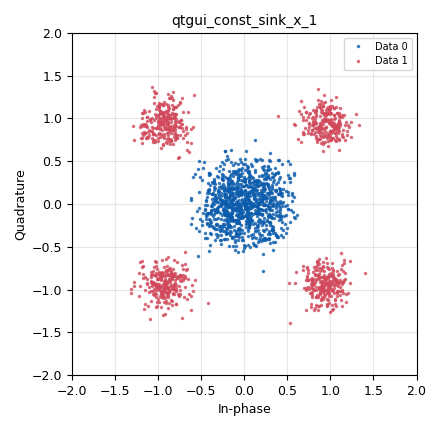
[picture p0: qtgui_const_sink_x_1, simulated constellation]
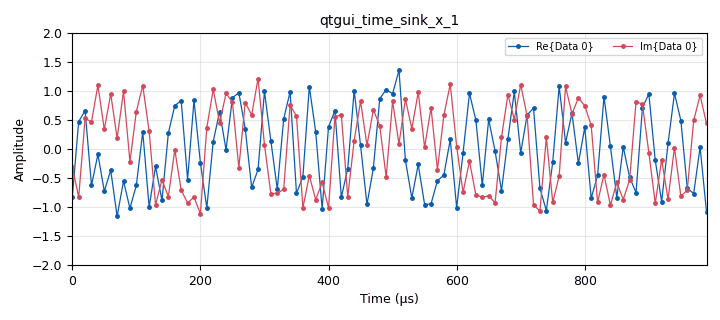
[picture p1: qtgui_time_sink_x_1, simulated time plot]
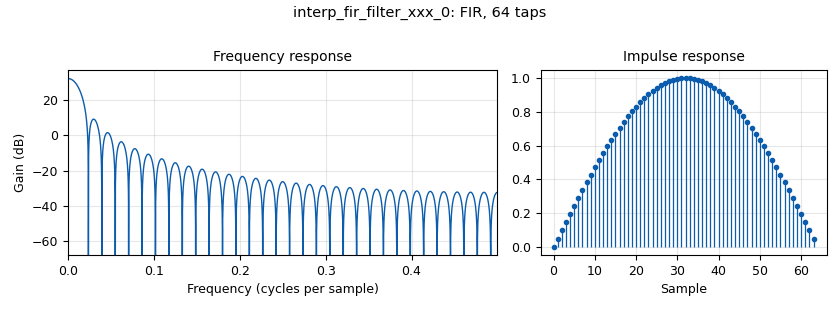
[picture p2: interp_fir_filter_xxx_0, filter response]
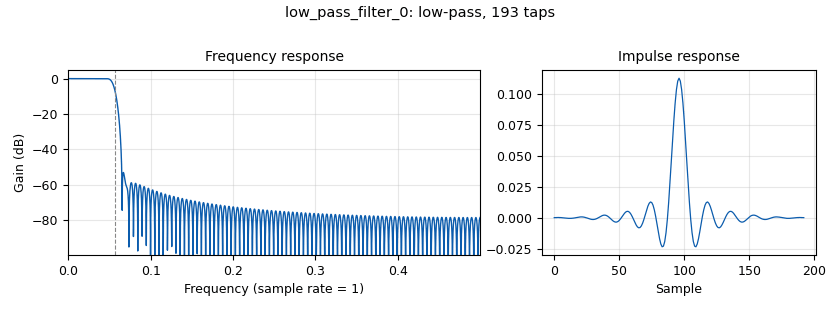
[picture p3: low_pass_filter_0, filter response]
options:
  parameters:
    author: Daniel Estevez
    generate_options: qt_gui
    id: oqpsk_demodulator
    output_language: python
    title: OQPSK demodulator test
  states: {}

blocks:
- name: baudrate
  id: variable
  parameters:
    value: '100000'
  states: {}
- name: mf_arms
  id: variable
  parameters:
    value: '128'
  states: {}
- name: mf_pfb
  id: variable
  parameters:
    comment: Half-sine receive pulse
    value: np.sin(np.pi * np.arange(mf_arms * sps_recv // 2) / (mf_arms * sps_recv // 2))
  states: {}
- name: mf_pfb
  id: variable_rrc_filter_taps
  parameters:
    alpha: '0.5'
    comment: RRC receive pulse
    gain: sps_recv
    ntaps: 11*sps_recv*mf_arms
    samp_rate: sps_recv * mf_arms
    sym_rate: '1'
  states: {state: disabled}
- name: pulse_taps
  id: variable
  parameters:
    comment: Half-sine transmit pulse
    value: np.sin(np.pi * np.arange(sps_gen)/sps_gen)
  states: {}
- name: pulse_taps
  id: variable_rrc_filter_taps
  parameters:
    alpha: '0.5'
    comment: RRC transmit pulse
    gain: sps_gen
    ntaps: 11*sps_gen
    samp_rate: sps_gen
    sym_rate: '1'
  states: {state: disabled}
- name: qpsk_constellation
  id: variable_constellation
  parameters:
    const_points: '[-1-1j, -1+1j, 1+1j, 1-1j]'
    dims: '1'
    normalization: digital.constellation.NO_NORMALIZATION
    precision: '8'
    rot_sym: '4'
    sym_map: '[0, 1, 3, 2]'
    type: calcdist
  states: {}
- name: samp_rate_gen
  id: variable
  parameters:
    value: baudrate * sps_gen
  states: {}
- name: samp_rate_recv
  id: variable
  parameters:
    value: baudrate * sps_recv
  states: {}
- name: sps_gen
  id: variable
  parameters:
    value: '64'
  states: {}
- name: sps_recv
  id: variable
  parameters:
    value: '8'
  states: {}
- name: analog_random_source_x_0
  id: analog_random_source_x
  parameters:
    max: '255'
    min: '0'
    num_samps: '1000000'
    repeat: 'True'
    type: byte
  states: {}
- name: blocks_complex_to_float_0
  id: blocks_complex_to_float
  parameters: {}
  states: {}
- name: blocks_complex_to_imag_0
  id: blocks_complex_to_imag
  parameters: {}
  states: {}
- name: blocks_complex_to_imag_0_0
  id: blocks_complex_to_imag
  parameters: {}
  states: {}
- name: blocks_complex_to_real_0
  id: blocks_complex_to_real
  parameters: {}
  states: {}
- name: blocks_complex_to_real_0_0
  id: blocks_complex_to_real
  parameters: {}
  states: {}
- name: blocks_deinterleave_0
  id: blocks_deinterleave
  parameters:
    type: complex
  states: {}
- name: blocks_deinterleave_0_0
  id: blocks_deinterleave
  parameters:
    type: complex
  states: {}
- name: blocks_delay_0
  id: blocks_delay
  parameters:
    delay: sps_gen // 2
    type: float
  states: {}
- name: blocks_float_to_complex_0
  id: blocks_float_to_complex
  parameters: {}
  states: {}
- name: blocks_float_to_complex_1
  id: blocks_float_to_complex
  parameters: {}
  states: {}
- name: blocks_float_to_complex_1_0
  id: blocks_float_to_complex
  parameters: {}
  states: {}
- name: blocks_multiply_const_xx_0
  id: blocks_multiply_const_xx
  parameters:
    const: np.exp(-1j*np.pi/4)
    type: complex
  states: {}
- name: blocks_multiply_const_xx_0_0
  id: blocks_multiply_const_xx
  parameters:
    const: np.exp(1j*np.pi/4)
    type: complex
  states: {}
- name: blocks_packed_to_unpacked_xx_0
  id: blocks_packed_to_unpacked_xx
  parameters:
    bits_per_chunk: '2'
    endianness: gr.GR_MSB_FIRST
    type: byte
  states: {}
- name: blocks_throttle_0
  id: blocks_throttle
  parameters:
    samples_per_second: baudrate
    type: complex
  states: {}
- name: channels_channel_model_0
  id: channels_channel_model
  parameters:
    epsilon: 1.0+1e-4
    freq_offset: '1e-3'
    noise_voltage: '1.0'
    seed: '0'
    taps: '1.0'
  states: {}
- name: digital_constellation_encoder_bc_0
  id: digital_constellation_encoder_bc
  parameters:
    constellation: qpsk_constellation
  states: {}
- name: digital_costas_loop_cc_0
  id: digital_costas_loop_cc
  parameters:
    order: '4'
    w: '0.01'
  states: {}
- name: digital_symbol_sync_xx_0
  id: digital_symbol_sync_xx
  parameters:
    damping: '1.0'
    loop_bw: '0.1'
    max_dev: '0.1'
    nfilters: mf_arms
    osps: '1'
    pfb_mf_taps: mf_pfb / np.sum(mf_pfb) * mf_arms
    resamp_type: digital.IR_PFB_MF
    sps: sps_recv//2
    ted_gain: '1.0'
    ted_type: digital.TED_DANDREA_AND_MENGALI_GEN_MSK
    type: cc
  states: {}
- name: import_0
  id: import
  parameters:
    imports: import numpy as np
  states: {}
- name: interp_fir_filter_xxx_0
  id: interp_fir_filter_xxx
  parameters:
    interp: sps_gen
    taps: pulse_taps
    type: ccf
  states: {}
- name: low_pass_filter_0
  id: low_pass_filter
  parameters:
    cutoff_freq: 0.45  / (sps_gen // sps_recv)
    decim: sps_gen // sps_recv
    gain: '1'
    samp_rate: '1'
    type: fir_filter_ccf
    width: 0.1  / (sps_gen // sps_recv)
    win: window.WIN_HAMMING
  states: {}
- name: qtgui_const_sink_x_0
  id: qtgui_const_sink_x
  parameters:
    size: '1024'
    type: complex
  states: {state: disabled}
- name: qtgui_const_sink_x_1
  id: qtgui_const_sink_x
  parameters:
    nconnections: '2'
    size: '1024'
    type: complex
  states: {}
- name: qtgui_freq_sink_x_0
  id: qtgui_freq_sink_x
  parameters:
    average: '0.1'
    bw: samp_rate_gen
    fc: '0'
    fftsize: '1024'
    type: complex
  states: {state: disabled}
- name: qtgui_freq_sink_x_0_0
  id: qtgui_freq_sink_x
  parameters:
    average: '0.1'
    bw: samp_rate_recv
    fc: '0'
    fftsize: '1024'
    type: complex
  states: {state: disabled}
- name: qtgui_time_sink_x_0
  id: qtgui_time_sink_x
  parameters:
    size: '1024'
    srate: samp_rate_gen
    type: complex
  states: {state: disabled}
- name: qtgui_time_sink_x_0_0
  id: qtgui_time_sink_x
  parameters:
    size: '1024'
    srate: samp_rate_recv
    type: complex
  states: {state: disabled}
- name: qtgui_time_sink_x_1
  id: qtgui_time_sink_x
  parameters:
    marker1: '0'
    marker2: '0'
    size: '100'
    srate: baudrate
    style1: '2'
    style2: '2'
    type: complex
    ymax: '2'
    ymin: '-2'
  states: {}
- name: virtual_sink_0
  id: virtual_sink
  parameters:
    stream_id: oqpsk_mod
  states: {}
- name: virtual_sink_0_0
  id: virtual_sink
  parameters:
    stream_id: oqpsk_recv
  states: {}
- name: virtual_source_0
  id: virtual_source
  parameters:
    stream_id: oqpsk_mod
  states: {}
- name: virtual_source_0_0
  id: virtual_source
  parameters:
    stream_id: oqpsk_recv
  states: {}

connections:
- [analog_random_source_x_0, '0', blocks_packed_to_unpacked_xx_0, '0']
- [blocks_complex_to_float_0, '0', blocks_float_to_complex_0, '0']
- [blocks_complex_to_float_0, '1', blocks_delay_0, '0']
- [blocks_complex_to_imag_0, '0', blocks_float_to_complex_1, '1']
- [blocks_complex_to_imag_0_0, '0', blocks_float_to_complex_1_0, '1']
- [blocks_complex_to_real_0, '0', blocks_float_to_complex_1, '0']
- [blocks_complex_to_real_0_0, '0', blocks_float_to_complex_1_0, '0']
- [blocks_deinterleave_0, '0', blocks_complex_to_real_0, '0']
- [blocks_deinterleave_0, '1', blocks_complex_to_imag_0, '0']
- [blocks_deinterleave_0_0, '0', blocks_complex_to_real_0_0, '0']
- [blocks_deinterleave_0_0, '1', blocks_complex_to_imag_0_0, '0']
- [blocks_delay_0, '0', blocks_float_to_complex_0, '1']
- [blocks_float_to_complex_0, '0', virtual_sink_0, '0']
- [blocks_float_to_complex_1, '0', qtgui_const_sink_x_1, '0']
- [blocks_float_to_complex_1_0, '0', qtgui_const_sink_x_1, '1']
- [blocks_multiply_const_xx_0, '0', blocks_deinterleave_0, '0']
- [blocks_multiply_const_xx_0_0, '0', blocks_deinterleave_0_0, '0']
- [blocks_packed_to_unpacked_xx_0, '0', digital_constellation_encoder_bc_0, '0']
- [blocks_throttle_0, '0', interp_fir_filter_xxx_0, '0']
- [channels_channel_model_0, '0', low_pass_filter_0, '0']
- [digital_constellation_encoder_bc_0, '0', blocks_throttle_0, '0']
- [digital_costas_loop_cc_0, '0', blocks_multiply_const_xx_0, '0']
- [digital_costas_loop_cc_0, '0', blocks_multiply_const_xx_0_0, '0']
- [digital_symbol_sync_xx_0, '0', digital_costas_loop_cc_0, '0']
- [digital_symbol_sync_xx_0, '0', qtgui_time_sink_x_1, '0']
- [interp_fir_filter_xxx_0, '0', blocks_complex_to_float_0, '0']
- [low_pass_filter_0, '0', qtgui_freq_sink_x_0_0, '0']
- [low_pass_filter_0, '0', qtgui_time_sink_x_0_0, '0']
- [low_pass_filter_0, '0', virtual_sink_0_0, '0']
- [virtual_source_0, '0', channels_channel_model_0, '0']
- [virtual_source_0, '0', qtgui_const_sink_x_0, '0']
- [virtual_source_0, '0', qtgui_freq_sink_x_0, '0']
- [virtual_source_0, '0', qtgui_time_sink_x_0, '0']
- [virtual_source_0_0, '0', digital_symbol_sync_xx_0, '0']

metadata:
  file_format: 1
  grc_version: 3.10.4.0
